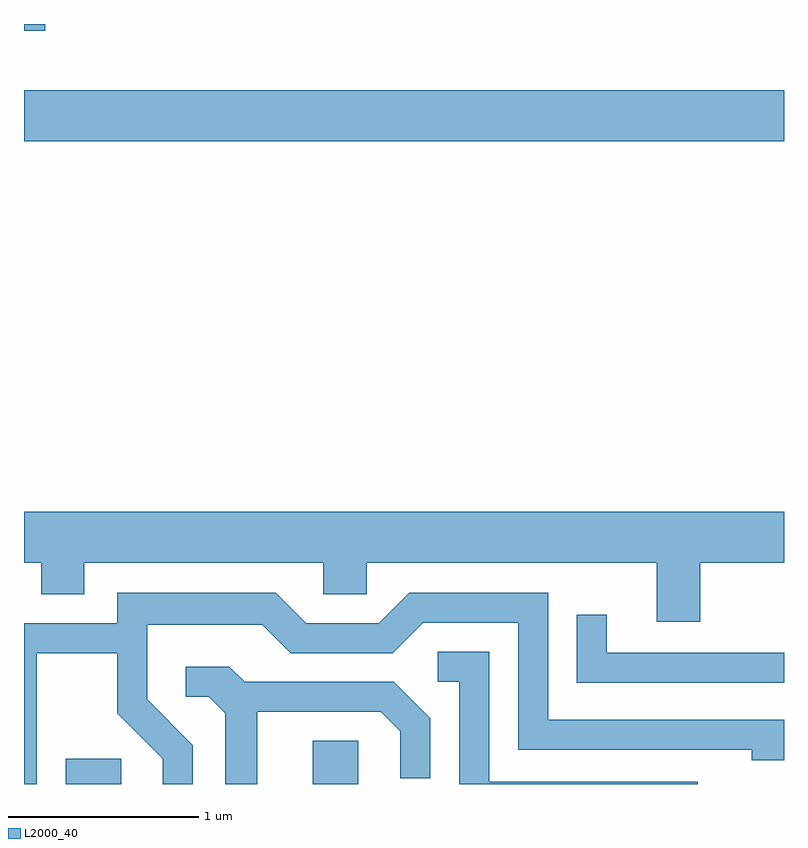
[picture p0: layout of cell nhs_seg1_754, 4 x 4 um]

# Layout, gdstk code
import gdstk
lib = gdstk.Library(unit=1e-6, precision=1e-09)
def R(c, l, rs):  # rectangles x0, y0, x1, y1
    for r in rs: c.add(gdstk.rectangle(r[:2], r[2:], *l))
def P(c, l, *ps):  # polygons
    for p in ps: c.add(gdstk.Polygon(p, *l))
L2000_40 = (2000, 40)

nhs_seg1_754 = lib.new_cell('nhs_seg1_754')
R(nhs_seg1_754, L2000_40, [(207.831,931.712,208.124,931.844), (209.131,931.712,209.369,931.939), (207.611,935.096,211.611,935.364), (207.611,935.676,207.724,935.712)])
P(nhs_seg1_754, L2000_40, [(211.169,932.876),(211.611,932.876),(211.611,933.144),(207.611,933.144),(207.611,932.876),(207.701,932.876),(207.701,932.711),(207.929,932.711),(207.929,932.876),(209.186,932.876),(209.186,932.711),(209.414,932.711),(209.414,932.876),(210.941,932.876),(210.941,932.566),(211.169,932.566)],
  [(207.679,932.401),(208.101,932.401),(208.101,932.084),(208.341,931.844),(208.341,931.712),(208.499,931.712),(208.499,931.917),(208.259,932.157),(208.259,932.551),(208.864,932.551),(209.014,932.401),(209.552,932.401),(209.712,932.561),(210.211,932.561),(210.211,931.891),(211.441,931.891),(211.441,931.836),(211.611,931.836),(211.611,932.049),(210.369,932.049),(210.369,932.719),(209.639,932.719),(209.479,932.559),(209.097,932.559),(208.937,932.719),(208.101,932.719),(208.101,932.559),(207.611,932.559),(207.611,931.712),(207.679,931.712)],
  [(211.611,932.404),(210.679,932.404),(210.679,932.603),(210.521,932.603),(210.521,932.246),(211.611,932.246)],
  [(211.158,931.724),(210.059,931.724),(210.059,932.409),(209.788,932.409),(209.788,932.251),(209.901,932.251),(209.901,931.712),(211.158,931.712)],
  [(208.839,932.091),(209.489,932.091),(209.591,931.989),(209.591,931.743),(209.749,931.743),(209.749,932.057),(209.557,932.249),(208.772,932.249),(208.692,932.329),(208.463,932.329),(208.463,932.171),(208.584,932.171),(208.671,932.084),(208.671,931.712),(208.839,931.712)])

lib.write_gds('nhs_seg1_754.gds')
